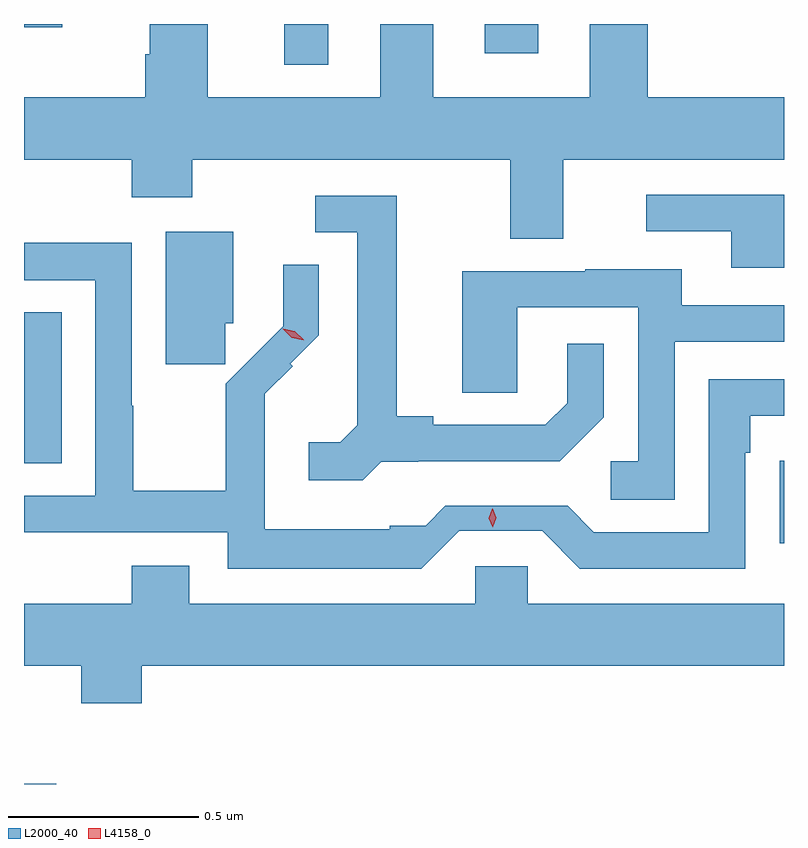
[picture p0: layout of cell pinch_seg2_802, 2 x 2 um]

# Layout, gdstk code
import gdstk
lib = gdstk.Library(unit=1e-6, precision=1e-09)
def R(c, l, rs):  # rectangles x0, y0, x1, y1
    for r in rs: c.add(gdstk.rectangle(r[:2], r[2:], *l))
def P(c, l, *ps):  # polygons
    for p in ps: c.add(gdstk.Polygon(p, *l))
L2000_40 = (2000, 40)
L4158_0 = (4158, 0)

pinch_seg2_802 = lib.new_cell('pinch_seg2_802')
R(pinch_seg2_802, L2000_40, [(732.604,644.661,732.689,644.662), (734.593,645.294,734.604,645.512), (732.604,645.505,732.703,645.902), (733.289,646.554,733.405,646.661), (733.817,646.584,733.957,646.661), (732.604,646.652,732.705,646.661)])
P(pinch_seg2_802, L2000_40, [(734.023,646.304),(734.604,646.304),(734.604,646.468),(734.246,646.468),(734.246,646.661),(734.093,646.661),(734.093,646.468),(733.681,646.468),(733.681,646.661),(733.541,646.661),(733.541,646.468),(733.087,646.468),(733.087,646.661),(732.935,646.661),(732.935,646.581),(732.923,646.581),(732.923,646.468),(732.604,646.468),(732.604,646.304),(732.887,646.304),(732.887,646.205),(733.047,646.205),(733.047,646.304),(733.883,646.304),(733.883,646.096),(734.023,646.096)],
  [(734.604,646.212),(734.241,646.212),(734.241,646.116),(734.465,646.116),(734.465,646.02),(734.604,646.02)],
  [(733.544,645.509),(733.642,645.509),(733.642,645.51),(734.014,645.51),(734.13,645.626),(734.13,645.82),(734.033,645.82),(734.033,645.663),(733.976,645.606),(733.681,645.606),(733.681,645.629),(733.585,645.629),(733.585,646.209),(733.371,646.209),(733.371,646.113),(733.481,646.113),(733.481,645.605),(733.436,645.56),(733.353,645.56),(733.353,645.461),(733.496,645.461)],
  [(733.134,645.874),(733.155,645.874),(733.155,646.114),(732.977,646.114),(732.977,645.766),(733.134,645.766)],
  [(733.75,645.327),(733.968,645.327),(734.067,645.228),(734.502,645.228),(734.502,645.533),(734.515,645.533),(734.515,645.63),(734.604,645.63),(734.604,645.726),(734.406,645.726),(734.406,645.324),(734.103,645.324),(734.035,645.393),(733.713,645.393),(733.661,645.341),(733.566,645.341),(733.566,645.331),(733.237,645.331),(733.237,645.688),(733.311,645.761),(733.305,645.767),(733.38,645.842),(733.38,646.028),(733.286,646.028),(733.286,645.865),(733.135,645.714),(733.135,645.433),(732.891,645.433),(732.891,645.656),(732.888,645.656),(732.888,646.086),(732.604,646.086),(732.604,645.987),(732.792,645.987),(732.792,645.42),(732.604,645.42),(732.604,645.324),(733.14,645.324),(733.14,645.227),(733.65,645.227)],
  [(734.316,645.825),(734.604,645.825),(734.604,645.921),(734.335,645.921),(734.335,646.015),(734.081,646.015),(734.081,646.011),(733.757,646.011),(733.757,645.691),(733.902,645.691),(733.902,645.915),(734.22,645.915),(734.22,645.51),(734.148,645.51),(734.148,645.409),(734.316,645.409)],
  [(732.914,644.972),(734.604,644.972),(734.604,645.136),(733.929,645.136),(733.929,645.234),(733.791,645.234),(733.791,645.136),(733.039,645.136),(733.039,645.235),(732.887,645.235),(732.887,645.136),(732.604,645.136),(732.604,644.972),(732.754,644.972),(732.754,644.873),(732.914,644.873)])
P(pinch_seg2_802, L4158_0, [(733.838,645.337),(733.838,645.337),(733.827,645.361),(733.836,645.386),(733.836,645.386),(733.837,645.386),(733.847,645.362),(733.838,645.337)],
  [(733.34,645.829),(733.308,645.835),(733.285,645.859),(733.285,645.859),(733.286,645.859),(733.317,645.853),(733.34,645.83),(733.34,645.83)])

lib.write_gds('pinch_seg2_802.gds')
